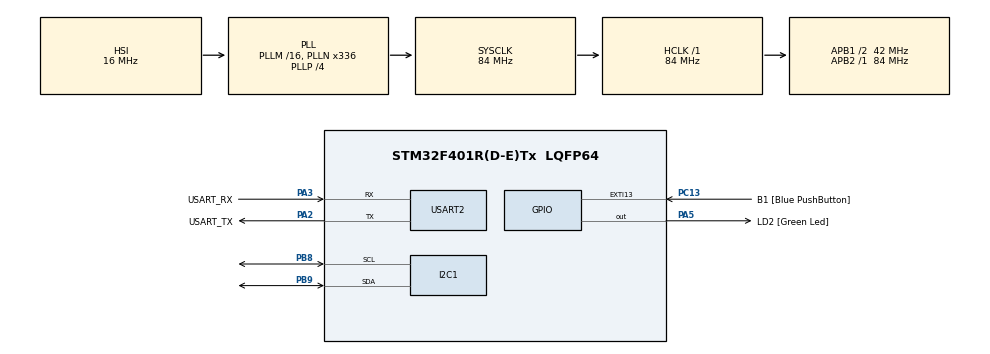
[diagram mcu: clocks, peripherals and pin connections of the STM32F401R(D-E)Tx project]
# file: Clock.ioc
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I2C1.I2C_Mode=I2C_Fast
Mcu.Family=STM32F4
Mcu.Name=STM32F401R(D-E)Tx
Mcu.Package=LQFP64
NVIC.PriorityGroup=NVIC_PRIORITYGROUP_0
NVIC.USART2_IRQn=true\:0\:0\:false\:false\:true\:true\:true\:true
PA13.GPIO_Label=TMS
PA13.Mode=Serial_Wire
PA13.Signal=SYS_JTMS-SWDIO
PA14.GPIO_Label=TCK
PA14.Mode=Serial_Wire
PA14.Signal=SYS_JTCK-SWCLK
PA2.GPIO_Label=USART_TX
PA2.GPIO_Mode=GPIO_MODE_AF_PP
PA2.GPIO_PuPd=GPIO_NOPULL
PA2.GPIO_Speed=GPIO_SPEED_FREQ_LOW
PA2.Mode=Asynchronous
PA2.Signal=USART2_TX
PA3.GPIO_Label=USART_RX
PA3.GPIO_Mode=GPIO_MODE_AF_PP
PA3.GPIO_PuPd=GPIO_NOPULL
PA3.GPIO_Speed=GPIO_SPEED_FREQ_LOW
PA3.Mode=Asynchronous
PA3.Signal=USART2_RX
PA5.GPIO_Label=LD2 [Green Led]
PA5.GPIO_Mode=GPIO_MODE_OUTPUT_PP
PA5.GPIO_PuPd=GPIO_NOPULL
PA5.GPIO_Speed=GPIO_SPEED_FREQ_LOW
PA5.Signal=GPIO_Output
PB3.GPIO_Label=SWO
PB3.Signal=SYS_JTDO-SWO
PB8.Mode=I2C
PB8.Signal=I2C1_SCL
PB9.Mode=I2C
PB9.Signal=I2C1_SDA
PC13-ANTI_TAMP.GPIO_Label=B1 [Blue PushButton]
PC13-ANTI_TAMP.GPIO_ModeDefaultEXTI=GPIO_MODE_IT_FALLING
PC13-ANTI_TAMP.GPIO_PuPd=GPIO_NOPULL
PC13-ANTI_TAMP.Signal=GPXTI13
PC14-OSC32_IN.Mode=LSE-External-Oscillator
PC14-OSC32_IN.Signal=RCC_OSC32_IN
PC15-OSC32_OUT.Mode=LSE-External-Oscillator
PC15-OSC32_OUT.Signal=RCC_OSC32_OUT
PH0\ -\ OSC_IN.Mode=HSE-External-Clock-Source
PH0\ -\ OSC_IN.Signal=RCC_OSC_IN
PH1\ -\ OSC_OUT.Mode=HSE-External-Clock-Source
PH1\ -\ OSC_OUT.Signal=RCC_OSC_OUT
ProjectManager.HeapSize=0x200
ProjectManager.StackSize=0x400
ProjectManager.TargetToolchain=STM32CubeIDE
RCC.48MHZClocksFreq_Value=48000000
RCC.AHBFreq_Value=84000000
RCC.APB1CLKDivider=RCC_HCLK_DIV2
RCC.APB1Freq_Value=42000000
RCC.APB1TimFreq_Value=84000000
RCC.APB2Freq_Value=84000000
RCC.APB2TimFreq_Value=84000000
RCC.CortexFreq_Value=84000000
RCC.HCLKFreq_Value=84000000
RCC.HSE_VALUE=8000000
RCC.HSI_VALUE=16000000
RCC.PLLN=336
RCC.PLLP=RCC_PLLP_DIV4
RCC.PLLQ=7
RCC.SYSCLKFreq_VALUE=84000000
RCC.SYSCLKSource=RCC_SYSCLKSOURCE_PLLCLK
RCC.VCOOutputFreq_Value=336000000
USART2.VirtualMode=VM_ASYNC
VP_RTC_VS_RTC_Activate.Mode=RTC_Enabled
board=NUCLEO-F401RE

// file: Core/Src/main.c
/* USER CODE BEGIN Header */
/**
  ******************************************************************************
  * @file           : main.c
  * @brief          : Main program body
  ******************************************************************************
  * @attention
  *
  * Copyright (c) 2024 STMicroelectronics.
  * All rights reserved.
  *
  * This software is licensed under terms that can be found in the LICENSE file
  * in the root directory of this software component.
  * If no LICENSE file comes with this software, it is provided AS-IS.
  *
  ******************************************************************************
  */
/* USER CODE END Header */
#include "main.h"

/* USER CODE BEGIN Includes */
#include "ssd1306.h"
#include "ssd1306_tests.h"
#include "ssd1306_fonts.h"
#include "string.h"
/* USER CODE END Includes */

/* USER CODE BEGIN PTD */
#define UART_BUFFER_SIZE 64
uint8_t uart_rx_buffer[UART_BUFFER_SIZE];
/* USER CODE END PTD */

I2C_HandleTypeDef hi2c1;

RTC_HandleTypeDef hrtc;

UART_HandleTypeDef huart2;

/* USER CODE BEGIN PV */
RTC_TimeTypeDef sTime;
RTC_DateTypeDef sDate;
char uart_buffer[UART_BUFFER_SIZE];
/* USER CODE END PV */

void SystemClock_Config(void);
static void MX_GPIO_Init(void);
static void MX_USART2_UART_Init(void);
static void MX_I2C1_Init(void);
static void MX_RTC_Init(void);

/* USER CODE BEGIN 0 */
void Display_RTC_Time_Date(void)
{
    char time_str[9];
    char date_str[11];

    HAL_RTC_GetTime(&hrtc, &sTime, RTC_FORMAT_BIN);
    HAL_RTC_GetDate(&hrtc, &sDate, RTC_FORMAT_BIN);

    snprintf(time_str, sizeof(time_str), "%02d:%02d:%02d", sTime.Hours, sTime.Minutes, sTime.Seconds);
    snprintf(date_str, sizeof(date_str), "%04d.%02d.%02d", 2000 + sDate.Year, sDate.Month, sDate.Date);

    ssd1306_Fill(Black);
    ssd1306_SetCursor(0, 0);
    ssd1306_WriteString("Time:", Font_7x10, White);
    ssd1306_SetCursor(50, 0);
    ssd1306_WriteString(time_str, Font_7x10, White);

    ssd1306_SetCursor(0, 20);
    ssd1306_WriteString("Date:", Font_7x10, White);
    ssd1306_SetCursor(50, 20);
    ssd1306_WriteString(date_str, Font_7x10, White);

    ssd1306_UpdateScreen();
}

void HAL_UART_RxCpltCallback(UART_HandleTypeDef *huart) {
    if (huart->Instance == USART2) {
        Process_UART_Data(uart_rx_buffer);
        HAL_UART_Receive_IT(&huart2, uart_rx_buffer, UART_BUFFER_SIZE); // Új fogadás
    }
}

void Process_UART_Data(uint8_t *data)
{
    RTC_TimeTypeDef sTime = {0};
    RTC_DateTypeDef sDate = {0};

    int hours, minutes, seconds;
    int year, month, day;

    if (sscanf((char *)data, "%d:%d:%d %d.%d.%d", &hours, &minutes, &seconds, &year, &month, &day) == 6)
    {
        sTime.Hours = hours;
        sTime.Minutes = minutes;
        sTime.Seconds = seconds;

        if (HAL_RTC_SetTime(&hrtc, &sTime, RTC_FORMAT_BIN) != HAL_OK)
        {
            Error_Handler();
        }

        sDate.Year = year - 2000;
        sDate.Month = month;
        sDate.Date = day;

        if (HAL_RTC_SetDate(&hrtc, &sDate, RTC_FORMAT_BIN) != HAL_OK)
        {
            Error_Handler();
        }
    }
    else
    {
        char error_msg[] = "Invalid UART Data Format\n";
        HAL_UART_Transmit(&huart2, (uint8_t *)error_msg, strlen(error_msg), HAL_MAX_DELAY);
    }
}

/* USER CODE END 0 */

int main(void)
{

  /* MCU Configuration--------------------------------------------------------*/

  /* Reset of all peripherals, Initializes the Flash interface and the Systick. */
  HAL_Init();

  /* Configure the system clock */
  SystemClock_Config();

  /* Initialize all configured peripherals */
  MX_GPIO_Init();
  MX_USART2_UART_Init();
  MX_I2C1_Init();
  MX_RTC_Init();
  /* USER CODE BEGIN 2 */
  ssd1306_Init();
  HAL_UART_Receive_IT(&huart2, uart_rx_buffer, UART_BUFFER_SIZE);

  /* USER CODE END 2 */

  /* Infinite loop */
  /* USER CODE BEGIN WHILE */
  while (1)
  {

  Display_RTC_Time_Date();
    /* USER CODE END WHILE */

  }
}

void SystemClock_Config(void)
{
  RCC_OscInitTypeDef RCC_OscInitStruct = {0};
  RCC_ClkInitTypeDef RCC_ClkInitStruct = {0};

  /** Configure the main internal regulator output voltage
  */
  __HAL_RCC_PWR_CLK_ENABLE();
  __HAL_PWR_VOLTAGESCALING_CONFIG(PWR_REGULATOR_VOLTAGE_SCALE2);

  /** Initializes the RCC Oscillators according to the specified parameters
  * in the RCC_OscInitTypeDef structure.
  */
  RCC_OscInitStruct.OscillatorType = RCC_OSCILLATORTYPE_HSI|RCC_OSCILLATORTYPE_LSI;
  RCC_OscInitStruct.HSIState = RCC_HSI_ON;
  RCC_OscInitStruct.HSICalibrationValue = RCC_HSICALIBRATION_DEFAULT;
  RCC_OscInitStruct.LSIState = RCC_LSI_ON;
  RCC_OscInitStruct.PLL.PLLState = RCC_PLL_ON;
  RCC_OscInitStruct.PLL.PLLSource = RCC_PLLSOURCE_HSI;
  RCC_OscInitStruct.PLL.PLLM = 16;
  RCC_OscInitStruct.PLL.PLLN = 336;
  RCC_OscInitStruct.PLL.PLLP = RCC_PLLP_DIV4;
  RCC_OscInitStruct.PLL.PLLQ = 7;
  if (HAL_RCC_OscConfig(&RCC_OscInitStruct) != HAL_OK)
  {
    Error_Handler();
  }

  /** Initializes the CPU, AHB and APB buses clocks
  */
  RCC_ClkInitStruct.ClockType = RCC_CLOCKTYPE_HCLK|RCC_CLOCKTYPE_SYSCLK
                              |RCC_CLOCKTYPE_PCLK1|RCC_CLOCKTYPE_PCLK2;
  RCC_ClkInitStruct.SYSCLKSource = RCC_SYSCLKSOURCE_PLLCLK;
  RCC_ClkInitStruct.AHBCLKDivider = RCC_SYSCLK_DIV1;
  RCC_ClkInitStruct.APB1CLKDivider = RCC_HCLK_DIV2;
  RCC_ClkInitStruct.APB2CLKDivider = RCC_HCLK_DIV1;

  if (HAL_RCC_ClockConfig(&RCC_ClkInitStruct, FLASH_LATENCY_2) != HAL_OK)
  {
    Error_Handler();
  }
}

static void MX_I2C1_Init(void)
{

  hi2c1.Instance = I2C1;
  hi2c1.Init.ClockSpeed = 400000;
  hi2c1.Init.DutyCycle = I2C_DUTYCYCLE_2;
  hi2c1.Init.OwnAddress1 = 0;
  hi2c1.Init.AddressingMode = I2C_ADDRESSINGMODE_7BIT;
  hi2c1.Init.DualAddressMode = I2C_DUALADDRESS_DISABLE;
  hi2c1.Init.OwnAddress2 = 0;
  hi2c1.Init.GeneralCallMode = I2C_GENERALCALL_DISABLE;
  hi2c1.Init.NoStretchMode = I2C_NOSTRETCH_DISABLE;
  if (HAL_I2C_Init(&hi2c1) != HAL_OK)
  {
    Error_Handler();
  }

}

static void MX_RTC_Init(void)
{

  /** Initialize RTC Only
  */
  hrtc.Instance = RTC;
  hrtc.Init.HourFormat = RTC_HOURFORMAT_24;
  hrtc.Init.AsynchPrediv = 127;
  hrtc.Init.SynchPrediv = 255;
  hrtc.Init.OutPut = RTC_OUTPUT_DISABLE;
  hrtc.Init.OutPutPolarity = RTC_OUTPUT_POLARITY_HIGH;
  hrtc.Init.OutPutType = RTC_OUTPUT_TYPE_OPENDRAIN;
  if (HAL_RTC_Init(&hrtc) != HAL_OK)
  {
    Error_Handler();
  }

}

static void MX_USART2_UART_Init(void)
{

  huart2.Instance = USART2;
  huart2.Init.BaudRate = 115200;
  huart2.Init.WordLength = UART_WORDLENGTH_8B;
  huart2.Init.StopBits = UART_STOPBITS_1;
  huart2.Init.Parity = UART_PARITY_NONE;
  huart2.Init.Mode = UART_MODE_TX_RX;
  huart2.Init.HwFlowCtl = UART_HWCONTROL_NONE;
  huart2.Init.OverSampling = UART_OVERSAMPLING_16;
  if (HAL_UART_Init(&huart2) != HAL_OK)
  {
    Error_Handler();
  }

}

static void MX_GPIO_Init(void)
{
  GPIO_InitTypeDef GPIO_InitStruct = {0};

  /* GPIO Ports Clock Enable */
  __HAL_RCC_GPIOC_CLK_ENABLE();
  __HAL_RCC_GPIOH_CLK_ENABLE();
  __HAL_RCC_GPIOA_CLK_ENABLE();
  __HAL_RCC_GPIOB_CLK_ENABLE();

  /*Configure GPIO pin Output Level */
  HAL_GPIO_WritePin(LD2_GPIO_Port, LD2_Pin, GPIO_PIN_RESET);

  /*Configure GPIO pin : B1_Pin */
  GPIO_InitStruct.Pin = B1_Pin;
  GPIO_InitStruct.Mode = GPIO_MODE_IT_FALLING;
  GPIO_InitStruct.Pull = GPIO_NOPULL;
  HAL_GPIO_Init(B1_GPIO_Port, &GPIO_InitStruct);

  /*Configure GPIO pin : LD2_Pin */
  GPIO_InitStruct.Pin = LD2_Pin;
  GPIO_InitStruct.Mode = GPIO_MODE_OUTPUT_PP;
  GPIO_InitStruct.Pull = GPIO_NOPULL;
  GPIO_InitStruct.Speed = GPIO_SPEED_FREQ_LOW;
  HAL_GPIO_Init(LD2_GPIO_Port, &GPIO_InitStruct);

}

void Error_Handler(void)
{
  __disable_irq();
  while (1)
  {
  }
}
